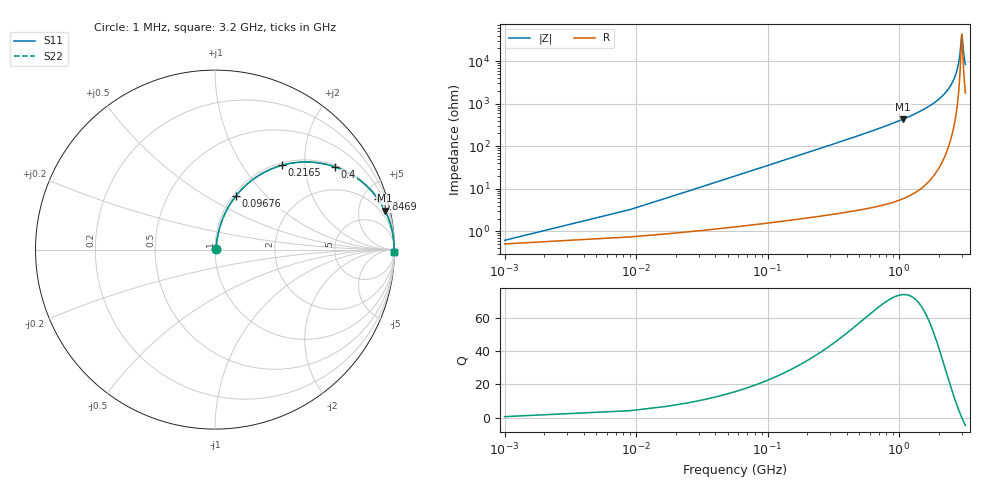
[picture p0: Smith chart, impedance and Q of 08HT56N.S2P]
! Coilcraft 0805HT-56N Chip Inductor
! 24 June 2002
# MHZ S MA R 50
!Freq  MagS11  AngS11  MagS21  AngS21  MagS12  AngS12  MagS22  AngS22
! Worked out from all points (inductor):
!   402 points, 1 MHz to 3.2 GHz, reference 50 ohm
!   read as one part in series: L = 56 nH near 16.96 MHz
!   highest Q = 74 at 1.078 GHz (marker M1), where L = 64.3 nH
!   self-resonance near 3.001 GHz
!   S11 on the Smith chart (normalised r, x): 1 MHz: 1.01, +0.01; 96.76 MHz: 1.03, +0.68; 216.5 MHz: 1.04, +1.53; 400 MHz: 1.06, +2.87; 846.9 MHz: 1.09, +6.47; 3.2 GHz: open
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1  0.00614 34.6  0.9949 -0.2  0.9949 -0.2  0.00614 34.6
24.94  0.08712 78.7  0.9866 -5.0  0.9866 -5.0  0.08712 78.7
32.92  0.1144 78.2  0.9831 -6.5  0.9831 -6.5  0.1144 78.2
56.86  0.1943 75.2  0.9687 -11.2  0.9687 -11.2  0.1943 75.2
96.76  0.3185 68.9  0.9336 -18.6  0.9336 -18.6  0.3185 68.9
152.62  0.4676 60.2  0.8681 -27.9  0.8681 -27.9  0.4676 60.2
216.46  0.6 51.6  0.7835 -36.9  0.7835 -36.9  0.6 51.6
400  0.8126 34.5  0.567 -54.3  0.567 -54.3  0.8126 34.5
535.66  0.8834 27.0  0.4538 -62.0  0.4538 -62.0  0.8834 27.0
846.88  0.9517 17.1  0.294 -72.1  0.294 -72.1  0.9517 17.1
1070.32  0.9713 13.0  0.2252 -76.2  0.2252 -76.2  0.9713 13.0
1078.3  0.9718 12.9  0.2232 -76.3  0.2232 -76.3  0.9718 12.9
1604.98  0.9901 7.2  0.1254 -81.9  0.1254 -81.9  0.9901 7.2
2139.64  0.996 3.7  0.06538 -84.6  0.06538 -84.6  0.996 3.7
2450.86  0.9973 2.2  0.03892 -84.9  0.03892 -84.9  0.9973 2.2
2674.3  0.9977 1.3  0.02232 -83.3  0.02232 -83.3  0.9977 1.3
2857.84  0.9977 0.6  0.009922 -76.5  0.009922 -76.5  0.9977 0.6
2921.68  0.9977 0.3  0.005955 -67.2  0.005955 -67.2  0.9977 0.3
2985.52  0.9977 0.1  0.002735 -31.4  0.002735 -31.4  0.9977 0.1
3009.46  0.9976 -0.0  0.002355 1.9  0.002355 1.9  0.9976 -0.0
3113.2  0.9975 -0.4  0.006912 68.9  0.006912 68.9  0.9975 -0.4
3200  0.9974 -0.7  0.01192 77.0  0.01192 77.0  0.9974 -0.7
